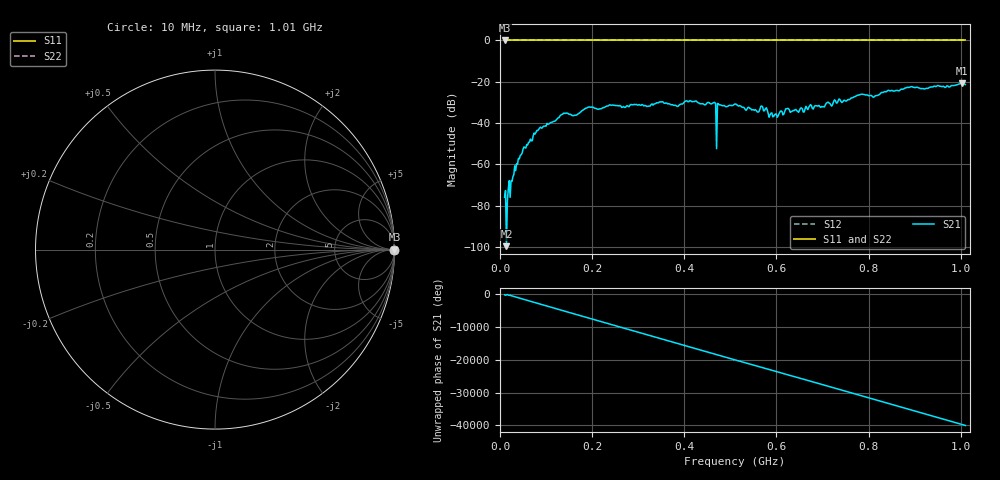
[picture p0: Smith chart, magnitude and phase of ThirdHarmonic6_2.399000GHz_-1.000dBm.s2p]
! 8/17/2025 3:56:49 AM
! C:\ANRITSUVNA\TEMP\TEMP.S2P
! CHANNEL.1
! TR.MEASUREMENT
! RAW.DATA
! RF.CORRECTION.OFF
! AVERAGING.OFF
! IF.BANDWIDTH: 5KHZ
! SWEEPTYPE:  FREQ.SWEEP(Linear)
! Reference Plane Port Info
! PORT:  PORT1  PORT2
! DISTANCE:  0  m  0  m
! TIME:  0  s  0  s
! PHASE.OFFSET:  0  deg.  0  deg.
! LOSS:  0  dB  0  dB
! REF.LOSS:  0  dB  0  dB
! REF.FREQ:  0  Hz  0  Hz
! Power Info
! POWER:  -20  dBm  -20  dBm
! EFF.POWER:  -20  dBm  -20  dBm
! SOURCE.ATTEN:  0  dB  0  dB
! TEST.ATTEN:  0  dB  0  dB
# GHZ S RI R 50.0
! FREQ.GHZ  S11RE  S11IM  S21RE  S21IM  S12RE  S12IM  S22RE  S22IM
!; PortSelection: Port_12
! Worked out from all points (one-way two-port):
!   501 points, 10 MHz to 1.01 GHz, reference 50 ohm
!   highest |S21| = -20.66 dB at 1.002 GHz (marker M1); lowest = -99.6 dB at 14 MHz (marker M2)
!   lowest |S11| = 0.0 dB at 10 MHz (marker M3)
!   |S11| at or under -10 dB: nowhere
!   |S22| runs from 0.0 to 0.0 dB; largest |S21 - S12| = 1.1
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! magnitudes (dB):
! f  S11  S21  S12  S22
! 10 MHz  0.0  -75.9  0.0  0.0
! 14 MHz  0.0  -99.6  0.0  0.0
! 18 MHz  0.0  -72.0  0.0  0.0
! 28 MHz  0.0  -66.0  0.0  0.0
! 48 MHz  0.0  -54.6  0.0  0.0
! 76 MHz  0.0  -45.3  0.0  0.0
! 136 MHz  0.0  -35.7  0.0  0.0
! 178 MHz  0.0  -34.0  0.0  0.0
! 344 MHz  0.0  -30.1  0.0  0.0
! 464 MHz  0.0  -30.0  0.0  0.0
! 466 MHz  0.0  -30.0  0.0  0.0
! 474 MHz  0.0  -30.7  0.0  0.0
! 476 MHz  0.0  -31.2  0.0  0.0
! 510 MHz  0.0  -30.7  0.0  0.0
! 558 MHz  0.0  -34.5  0.0  0.0
! 568 MHz  0.0  -31.7  0.0  0.0
! 598 MHz  0.0  -35.6  0.0  0.0
! 624 MHz  0.0  -32.9  0.0  0.0
! 678 MHz  0.0  -32.9  0.0  0.0
! 844 MHz  0.0  -24.1  0.0  0.0
! 1.002 GHz  0.0  -20.7  0.0  0.0
! 1.01 GHz  0.0  -21.3  0.0  0.0
